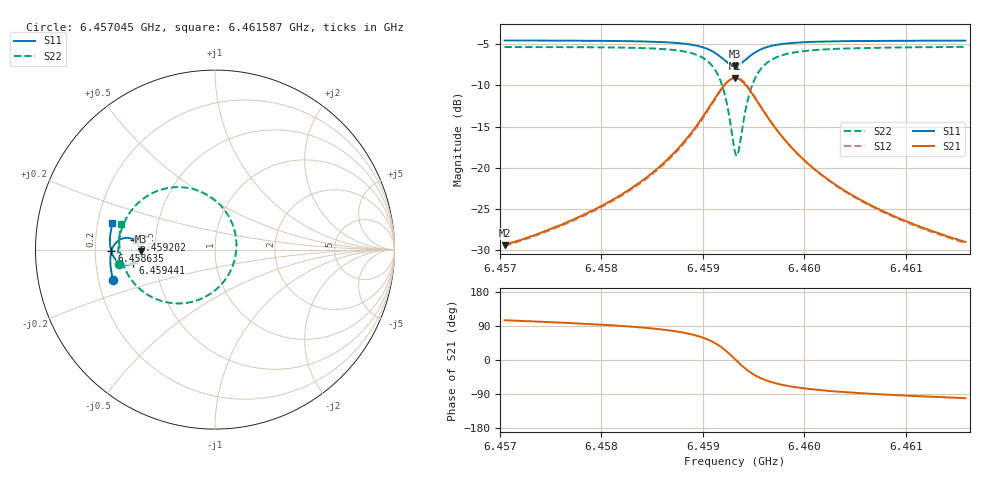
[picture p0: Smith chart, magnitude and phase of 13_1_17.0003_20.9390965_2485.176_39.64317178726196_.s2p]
#  HZ  S  RI  R  50.00
! Rohde & Schwarz Vector Network Analyzer
! Rohde-Schwarz,ZNB20-2Port,1311601062101988,3.16
! Created: UTC 3/20/2024, 10:52:39 PM
! freq[Hz]  re:S11  im:S11  re:S21  im:S21  re:S12  im:S12  re:S22  im:S22
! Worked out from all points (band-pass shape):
!   401 points, 6.457045 GHz to 6.461587 GHz, reference 50 ohm
!   highest |S21| = -9.12 dB at 6.459316 GHz (marker M1); lowest = -29.4 dB at 6.457045 GHz (marker M2)
!   |S21| within 3 dB of the highest: 6.459089 GHz to 6.459544 GHz (454.3 kHz wide, 0.00703 % of centre)
!   lowest |S11| = -7.6 dB at 6.459316 GHz (marker M3), VSWR 2.42, Z = 20.7 - j0.454 ohm
!   |S11| at or under -10 dB: nowhere
!   |S22| runs from -18.5 to -5.3 dB; largest |S21 - S12| = 0.014
!   S11 on the Smith chart (normalised r, x): 6.457045 GHz: 0.26, -0.14; 6.458635 GHz: 0.27, -0.01; 6.459202 GHz: 0.38, +0.05; 6.459441 GHz: 0.37, -0.07; 6.461587 GHz: 0.26, +0.12
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6.4570453e9  -0.5674 -0.1687  -0.00873 0.0329  -0.00695 0.0329  -0.5343 -0.0781
6.457806e9  -0.5808 -0.1018  -0.00542 0.0511  -0.00274 0.0505  -0.5387 0.0117
6.4582147e9  -0.5835 -0.0606  0.000554 0.07  0.00384 0.0686  -0.53 0.0769
6.4585666e9  -0.5794 -0.0185  0.0151 0.0999  0.019 0.0972  -0.5033 0.1567
6.4586348e9  -0.5772 -0.0088  0.0204 0.1085  0.0245 0.105  -0.493 0.1768
6.4588278e9  -0.5642 0.0217  0.0476 0.1396  0.0515 0.1345  -0.4422 0.2459
6.4589754e9  -0.5412 0.0479  0.0934 0.1703  0.0965 0.1633  -0.3575 0.3102
6.4591116e9  -0.4968 0.0654  0.1816 0.1865  0.1823 0.1791  -0.1966 0.3482
6.4592024e9  -0.4516 0.0549  0.2724 0.1547  0.2725 0.149  -0.0287 0.2961
6.4592706e9  -0.4222 0.0222  0.3335 0.0816  0.3356 0.0768  0.0874 0.1648
6.459316e9  -0.4151 -0.00908  0.3498 0.013  0.3536 0.00616  0.1194 0.0362
6.45935e9  -0.4192 -0.0333  0.3438 -0.0403  0.3479 -0.0491  0.1072 -0.0645
6.4593955e9  -0.4349 -0.0599  0.3148 -0.1009  0.3173 -0.1127  0.0483 -0.1789
6.4594409e9  -0.4572 -0.0766  0.272 -0.1423  0.2713 -0.1556  -0.0383 -0.2542
6.4594863e9  -0.4804 -0.0837  0.227 -0.1649  0.2231 -0.1779  -0.1287 -0.2913
6.4595317e9  -0.5013 -0.0837  0.1861 -0.1735  0.1799 -0.1853  -0.2096 -0.3002
6.4596793e9  -0.5458 -0.0632  0.097 -0.1591  0.0884 -0.1654  -0.3792 -0.249
6.4598382e9  -0.5677 -0.0354  0.0516 -0.1307  0.0438 -0.1333  -0.4599 -0.1758
6.4600767e9  -0.5805 0.000161  0.0222 -0.0985  0.0165 -0.0992  -0.5081 -0.0923
6.4604286e9  -0.5852 0.0422  0.00579 -0.0707  0.00174 -0.0702  -0.5294 -0.0106
6.4608373e9  -0.5834 0.0834  -0.00167 -0.0526  -0.00441 -0.0517  -0.5331 0.0554
6.4615867e9  -0.5715 0.15  -0.00674 -0.035  -0.0082 -0.034  -0.5216 0.1447
